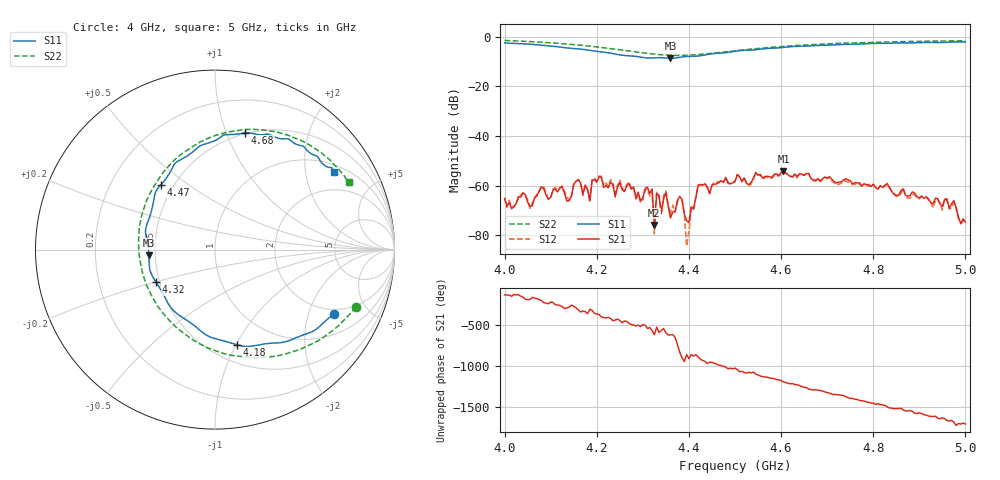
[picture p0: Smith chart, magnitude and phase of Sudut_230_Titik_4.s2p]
# Hz S RI R 50
! CMT, C1220, 16058040, 17.2.0/1
! Date: 15/08/2018 12:31:12
! Data: Format (Calibration Info)
! Freq  S11: Re/Im (F2)  S21: Re/Im (F2)  S12: Re/Im (F2)  S22: Re/Im (F2)
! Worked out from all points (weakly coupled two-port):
!   201 points, 4 GHz to 5 GHz, reference 50 ohm
!   highest |S21| = -54.08 dB at 4.605 GHz (marker M1); lowest = -75.8 dB at 4.325 GHz (marker M2)
!   lowest |S11| = -8.7 dB at 4.36 GHz (marker M3), VSWR 2.17, Z = 23.1 - j1.64 ohm
!   |S11| at or under -10 dB: nowhere
!   |S22| runs from -7.5 to -1.5 dB; largest |S21 - S12| = 0.00017
!   S11 on the Smith chart (normalised r, x): 4 GHz: 1.78, -2.96; 4.18 GHz: 0.67, -1.01; 4.32 GHz: 0.48, -0.20; 4.47 GHz: 0.43, +0.40; 4.68 GHz: 0.49, +1.17; 5 GHz: 1.24, +2.86
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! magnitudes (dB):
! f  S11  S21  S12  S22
! 4 GHz  -2.5  -65.2  -64.9  -1.5
! 4.14 GHz  -4.6  -66.0  -66.0  -3.0
! 4.16 GHz  -4.9  -57.6  -57.5  -3.3
! 4.17 GHz  -5.0  -63.3  -63.9  -3.5
! 4.18 GHz  -5.3  -61.4  -61.6  -3.7
! 4.32 GHz  -8.5  -61.3  -62.2  -6.9
! 4.325 GHz  -8.5  -75.8  -79.4  -6.9
! 4.33 GHz  -8.4  -63.2  -62.7  -7.1
! 4.335 GHz  -8.4  -63.9  -64.2  -7.1
! 4.34 GHz  -8.4  -71.3  -70.9  -7.2
! 4.35 GHz  -8.5  -62.8  -62.1  -7.3
! 4.36 GHz  -8.7  -73.1  -71.8  -7.4
! 4.385 GHz  -8.1  -65.6  -65.9  -7.5
! 4.395 GHz  -7.9  -74.1  -84.4  -7.4
! 4.42 GHz  -7.7  -59.8  -60.0  -7.1
! 4.47 GHz  -6.5  -58.0  -57.9  -6.3
! 4.5 GHz  -5.8  -58.4  -58.2  -5.6
! 4.605 GHz  -4.3  -54.1  -54.3  -3.8
! 4.67 GHz  -3.6  -57.7  -57.9  -3.1
! 4.68 GHz  -3.4  -57.2  -57.2  -3.0
! 4.835 GHz  -2.6  -60.6  -60.8  -2.0
! 5 GHz  -2.0  -74.6  -73.8  -1.6
